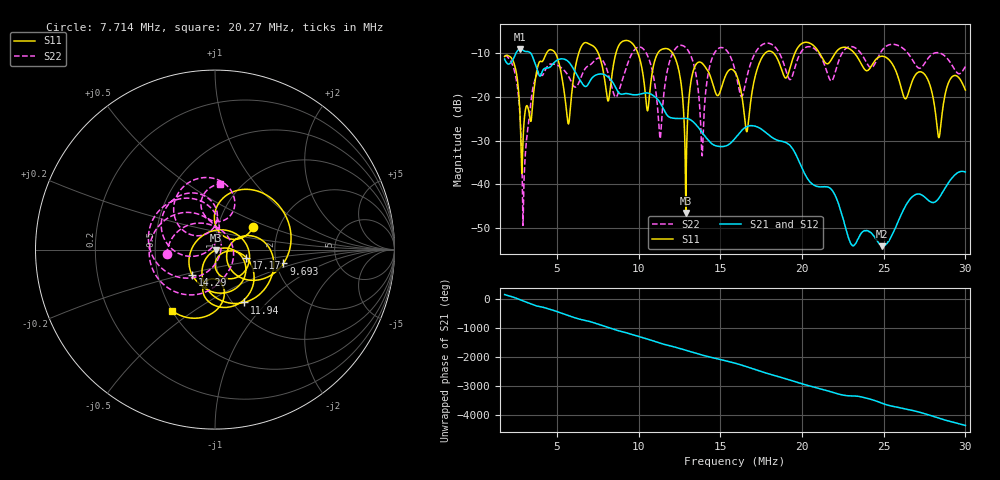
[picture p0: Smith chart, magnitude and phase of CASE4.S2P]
!Agilent Technologies,E5061B,MY49101568,A.02.00
!Date: Wed Mar 01 15:27:24 2023
!Data & Calibration Information:
!Freq	S11:SOLT2(OFF)	S21:SOLT2(OFF)	S12:SOLT2(OFF)	S22:SOLT2(OFF)
# Hz S dB R 50
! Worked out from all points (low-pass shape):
!   1155 points, 1.8 MHz to 30 MHz, reference 50 ohm
!   highest |S21| = -9.21 dB at 2.729 MHz (marker M1); lowest = -54.1 dB at 24.92 MHz (marker M2)
!   |S21| within 3 dB of the highest: 2.203 MHz to 3.643 MHz (1.44 MHz wide, 49.3 % of centre); 4.835 MHz to 5.748 MHz (912.6 kHz wide, 17.2 % of centre)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
!   lowest |S11| = -46.5 dB at 12.89 MHz (marker M3), VSWR 1.01, Z = 50.4 - j0.235 ohm
!   |S11| at or under -10 dB: start of sweep to 4.378 MHz; 12.07 MHz to 17.77 MHz (5.707 MHz wide, 38.3 % of centre); 23.19 MHz to end of sweep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
!   |S22| runs from -49.3 to -7.8 dB; largest |S21 - S12| = 0.0046
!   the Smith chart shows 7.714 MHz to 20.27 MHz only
!   S11 on the Smith chart (normalised r, x): 7.714 MHz: 1.48, +0.40; 9.693 MHz: 2.18, -0.40; 11.94 MHz: 1.13, -0.75; 14.29 MHz: 0.75, -0.22; 17.17 MHz: 1.42, -0.13; 20.27 MHz: 0.50, -0.41
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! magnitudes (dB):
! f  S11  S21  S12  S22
! 1.8 MHz  -10.9  -11.4  -11.4  -10.7
! 2.729 MHz  -23.0  -9.2  -9.2  -23.6
! 2.973 MHz  -26.6  -9.5  -9.5  -41.2
! 3.804 MHz  -13.5  -14.0  -14.0  -14.7
! 5.71 MHz  -26.2  -12.1  -12.1  -15.3
! 6.516 MHz  -8.4  -16.8  -16.8  -15.2
! 7.714 MHz  -12.1  -14.8  -14.8  -11.4
! 9.693 MHz  -8.2  -19.6  -19.6  -9.6
! 10.55 MHz  -23.2  -19.2  -19.2  -10.7
! 11.21 MHz  -9.9  -20.8  -20.8  -24.8
! 11.94 MHz  -9.5  -24.8  -24.8  -11.5
! 12.89 MHz  -46.5  -25.0  -25.0  -8.9
! 13.87 MHz  -12.3  -28.1  -28.1  -33.3
! 14.29 MHz  -14.4  -30.0  -30.1  -14.2
! 15.9 MHz  -14.4  -29.5  -29.6  -14.0
! 17.17 MHz  -14.9  -26.8  -26.9  -9.8
! 20.27 MHz  -7.6  -38.3  -38.3  -8.7
! 20.62 MHz  -8.1  -39.9  -39.8  -8.8
! 24.92 MHz  -10.8  -54.1  -54.0  -9.4
! 25.31 MHz  -11.5  -52.9  -52.9  -8.2
! 28.36 MHz  -29.3  -43.2  -43.1  -10.0
! 30 MHz  -18.5  -37.2  -37.1  -13.1
